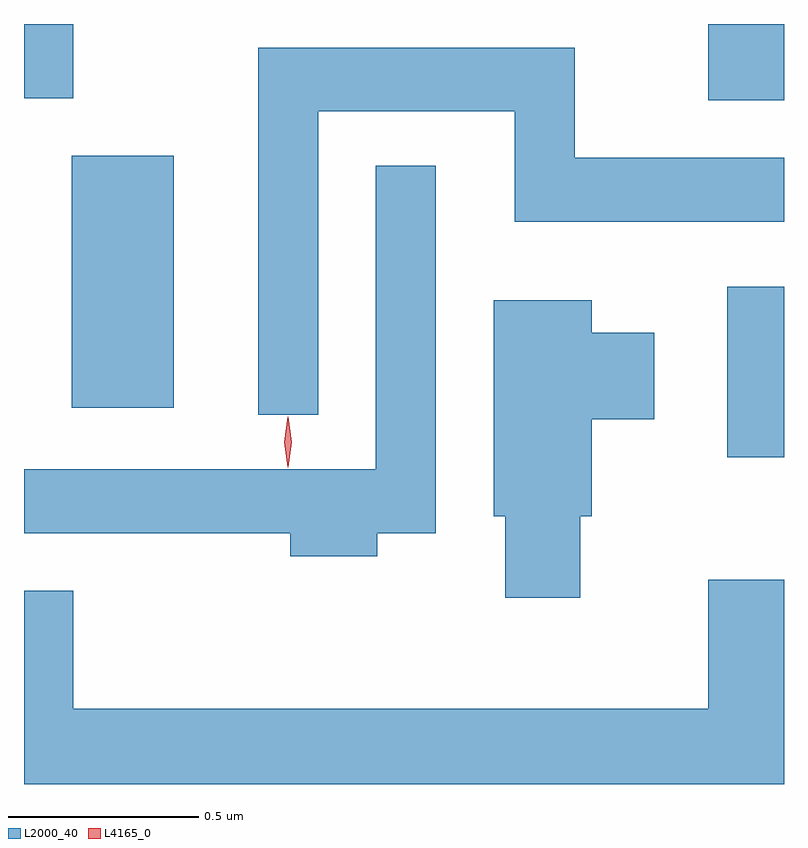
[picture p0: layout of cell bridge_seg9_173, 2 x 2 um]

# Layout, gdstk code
import gdstk
lib = gdstk.Library(unit=1e-6, precision=1e-09)
def R(c, l, rs):  # rectangles x0, y0, x1, y1
    for r in rs: c.add(gdstk.rectangle(r[:2], r[2:], *l))
def P(c, l, *ps):  # polygons
    for p in ps: c.add(gdstk.Polygon(p, *l))
L2000_40 = (2000, 40)
L4165_0 = (4165, 0)

bridge_seg9_173 = lib.new_cell('bridge_seg9_173')
R(bridge_seg9_173, L2000_40, [(1440.581,2072.666,1440.73,2073.114), (1438.856,2072.796,1439.124,2073.459), (1440.531,2073.606,1440.73,2073.806), (1438.73,2073.611,1438.859,2073.806)])
P(bridge_seg9_173, L2000_40, [(1439.504,2073.576),(1440.021,2073.576),(1440.021,2073.286),(1440.73,2073.286),(1440.73,2073.454),(1440.179,2073.454),(1440.179,2073.744),(1439.346,2073.744),(1439.346,2072.778),(1439.504,2072.778)],
  [(1439.659,2072.466),(1439.814,2072.466),(1439.814,2073.433),(1439.656,2073.433),(1439.656,2072.634),(1438.73,2072.634),(1438.73,2072.466),(1439.431,2072.466),(1439.431,2072.406),(1439.659,2072.406)],
  [(1440.194,2072.511),(1440.224,2072.511),(1440.224,2072.766),(1440.389,2072.766),(1440.389,2072.994),(1440.224,2072.994),(1440.224,2073.079),(1439.966,2073.079),(1439.966,2072.511),(1439.996,2072.511),(1439.996,2072.296),(1440.194,2072.296)],
  [(1440.73,2072.344),(1440.531,2072.344),(1440.531,2072.004),(1438.859,2072.004),(1438.859,2072.314),(1438.73,2072.314),(1438.73,2071.806),(1440.73,2071.806)])
P(bridge_seg9_173, L4165_0, [(1439.425,2072.639),(1439.424,2072.64),(1439.415,2072.706),(1439.424,2072.772),(1439.425,2072.773),(1439.425,2072.772),(1439.435,2072.706),(1439.425,2072.64)])

lib.write_gds('bridge_seg9_173.gds')
